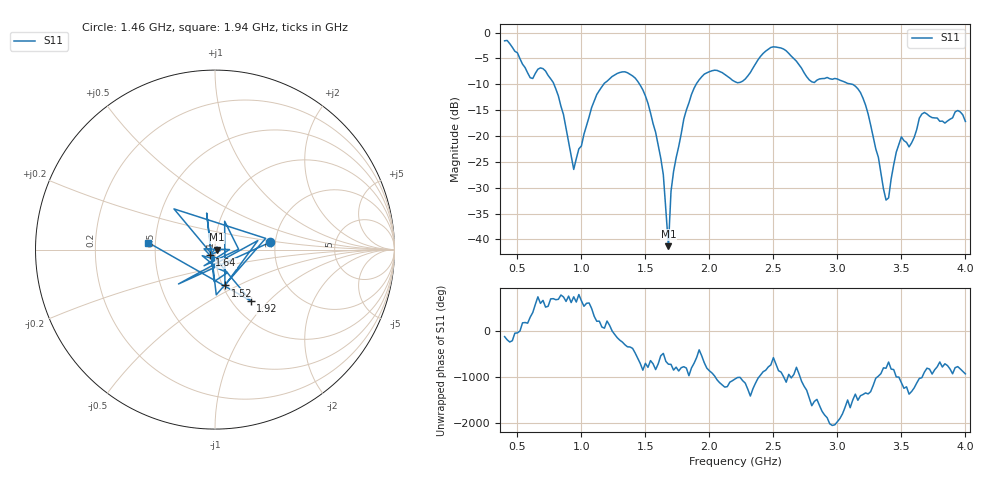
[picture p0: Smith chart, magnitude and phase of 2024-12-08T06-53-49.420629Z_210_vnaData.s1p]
!Created with skrf (http://scikit-rf.org).
# Hz S RI R 50.0
!freq ReS11 ImS11
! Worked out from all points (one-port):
!   181 points, 400 MHz to 4 GHz, reference 50 ohm
!   lowest |S11| = -41.3 dB at 1.68 GHz (marker M1), VSWR 1.02, Z = 50.9 - j0.113 ohm
!   |S11| at or under -10 dB: 785.5 MHz to 1.174 GHz (388.3 MHz wide, 39.6 % of centre); 1.455 GHz to 1.897 GHz (442 MHz wide, 26.4 % of centre); 3.114 GHz to end of sweep
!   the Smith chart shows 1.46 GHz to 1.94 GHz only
!   S11 on the Smith chart (normalised r, x): 1.46 GHz: 1.87, +0.17; 1.52 GHz: 1.03, -0.43; 1.64 GHz: 0.94, -0.06; 1.92 GHz: 1.22, -0.79; 1.94 GHz: 0.46, +0.04
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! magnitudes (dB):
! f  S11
! 400 MHz  -1.6
! 600 MHz  -8.7
! 720 MHz  -7.4
! 860 MHz  -15.9
! 940 MHz  -26.5
! 1.12 GHz  -12.0
! 1.3 GHz  -7.7
! 1.46 GHz  -10.2
! 1.52 GHz  -13.7
! 1.64 GHz  -27.5
! 1.68 GHz  -41.3
! 1.7 GHz  -30.7
! 1.76 GHz  -22.1
! 1.82 GHz  -15.0
! 1.92 GHz  -9.1
! 1.94 GHz  -8.6
! 2.2 GHz  -9.5
! 2.48 GHz  -2.9
! 2.66 GHz  -5.0
! 2.8 GHz  -9.5
! 3.1 GHz  -9.9
! 3.22 GHz  -14.0
! 3.38 GHz  -32.4
! 3.5 GHz  -20.2
! 3.56 GHz  -22.1
! 3.68 GHz  -15.5
! 3.94 GHz  -15.1
! 4 GHz  -17.2
